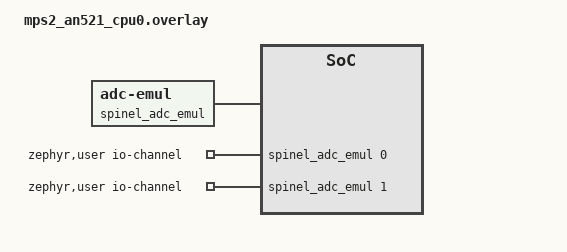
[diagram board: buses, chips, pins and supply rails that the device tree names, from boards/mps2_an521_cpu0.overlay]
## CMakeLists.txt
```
# Reserve harness for tests/app/reserves.sh (decision 0014, Task 9).
cmake_minimum_required(VERSION 3.20.0)
find_package(Zephyr REQUIRED HINTS $ENV{ZEPHYR_BASE})
project(spinel_reserve_harness)
target_sources(app PRIVATE src/main.c)
# reserves.h is generated beside the build by reserves.sh from reserves.tsv
if(DEFINED SPC_RESERVES_DIR)
  target_include_directories(app PRIVATE ${SPC_RESERVES_DIR})
endif()
```

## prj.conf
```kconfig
# the harness's own needs; the board's production or verification fragment
# is added with -DEXTRA_CONF_FILE
CONFIG_PRINTK=y
CONFIG_INIT_STACKS=y
CONFIG_THREAD_STACK_INFO=y
CONFIG_STACK_USAGE=y
```

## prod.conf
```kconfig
# the production configuration of a CORE application build (decision 0014
# §8, step 2): the 64-bit cycle counter §4 needs, the device classes
CONFIG_CORTEX_M_SYSTICK_64BIT_CYCLE_COUNTER=y
CONFIG_GPIO=y
CONFIG_ADC=y
CONFIG_PWM=y
```

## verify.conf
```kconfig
# the verification configuration: production plus the emulators the
# stimulus drives on QEMU (decision 0014 §10)
CONFIG_CORTEX_M_SYSTICK_64BIT_CYCLE_COUNTER=y
CONFIG_GPIO=y
CONFIG_GPIO_EMUL=y
CONFIG_ADC=y
CONFIG_ADC_EMUL=y
CONFIG_PWM=y
```

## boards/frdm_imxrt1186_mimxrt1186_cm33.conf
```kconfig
# decision 0028: the harness for the companion's board builds Zephyr's MU driver, as an
# image woken by a doorbell does, so that isr_mbox_nxp_imx_mu's path has its frames
CONFIG_MBOX=y
```

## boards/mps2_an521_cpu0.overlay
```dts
#include <zephyr/dt-bindings/adc/adc.h>
/* The harness's mps2/an521 overlay: the emulated ADC the acceptance
 * configuration uses (tests/app/fixtures/build/mps2_an521.overlay: the
 * adc-emul node itself is the same; the acceptance overlay additionally
 * names its io-channels under zephyr,user, which the harness does not need
 * because nothing here reads a channel), so the harness build carries
 * adc_emul.c's .su frames, from which
 * the Adc sampler thread's read path (drv_adc_read) is attested. */
/ {
	spinel_adc_emul: adc-emul {
		compatible = "zephyr,adc-emul";
		nchannels = <2>;
		ref-internal-mv = <3300>;
		#io-channel-cells = <1>;
		#address-cells = <1>;
		#size-cells = <0>;
		status = "okay";
		channel@0 {
			reg = <0>;
			zephyr,gain = "ADC_GAIN_1";
			zephyr,reference = "ADC_REF_INTERNAL";
			zephyr,acquisition-time = <ADC_ACQ_TIME_DEFAULT>;
			zephyr,resolution = <10>;
		};
		channel@1 {
			reg = <1>;
			zephyr,gain = "ADC_GAIN_1";
			zephyr,reference = "ADC_REF_INTERNAL";
			zephyr,acquisition-time = <ADC_ACQ_TIME_DEFAULT>;
			zephyr,resolution = <10>;
		};
	};
	zephyr,user {
		io-channels = <&spinel_adc_emul 0>, <&spinel_adc_emul 1>;
	};
};
```

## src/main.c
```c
/* Reserve harness (decision 0014 §9, Task 9): paints its stacks, drives every
 * reserved path, and compares the high-water marks with the reserves it was
 * built against. See ../README.md. Never linked into a deliverable. */
#include <stdint.h>
#include <string.h>
#include <zephyr/kernel.h>
#include <zephyr/device.h>
#include <zephyr/drivers/uart.h>
#include <zephyr/sys/printk.h>
#include "reserves.h" /* SPC_RESERVE_* from reserves.tsv, for this board */

#define WORKER_STACK 1024
static K_THREAD_STACK_DEFINE(worker_stack, WORKER_STACK);
static struct k_thread worker;
static struct k_timer probe_timer;
static volatile uint32_t expiries;
static volatile uint32_t spins;

/* the harness's own frames on the reserved paths, from its .su file, are
 * passed by reserves.sh as SPC_HARNESS_* so the comparison subtracts them */
#ifndef SPC_HARNESS_WORKER_FRAMES
#define SPC_HARNESS_WORKER_FRAMES 0
#endif
#ifndef SPC_HARNESS_EXPIRY_FRAMES
#define SPC_HARNESS_EXPIRY_FRAMES 0
#endif

static void expiry(struct k_timer *t)
{
	(void)t;
	expiries++;
}

/* the interrupt stack: painted again by the worker before it drives the
 * paths (with interrupts locked, no handler is active, so the whole buffer
 * is free), so the mark read afterwards is this run's, not the boot's */
extern K_KERNEL_STACK_ARRAY_DECLARE(z_interrupt_stacks, CONFIG_MP_MAX_NUM_CPUS, CONFIG_ISR_STACK_SIZE);
static void isr_stack_paint(void)
{
	uint8_t *base = (uint8_t *)K_KERNEL_STACK_BUFFER(z_interrupt_stacks[0]);
	size_t size = K_KERNEL_STACK_SIZEOF(z_interrupt_stacks[0]);
	unsigned int key = irq_lock();

	memset(base, 0xAA, size);
	irq_unlock(key);
}
static size_t isr_stack_used(void)
{
	const uint8_t *base = (const uint8_t *)K_KERNEL_STACK_BUFFER(z_interrupt_stacks[0]);
	size_t size = K_KERNEL_STACK_SIZEOF(z_interrupt_stacks[0]);
	size_t unused = 0;

	while (unused < size && base[unused] == 0xAAu) {
		unused++;
	}
	return size - unused;
}

static void worker_entry(void *a, void *b, void *c)
{
	const struct device *uart = DEVICE_DT_GET(DT_CHOSEN(zephyr_console));
	uint8_t byte;

	(void)a; (void)b; (void)c;
	isr_stack_paint();
	/* thread_switch + thread_kernel_calls: sleep, so PendSV switches away
	 * and back with the hardware frame on this stack */
	k_sleep(K_MSEC(2));
	/* timer_dispatch: a timer expires while this thread spins (busy work,
	 * so SysTick preempts a running thread), then with the thread waiting
	 * on it (z_ready_thread on the dispatch path) */
	k_timer_init(&probe_timer, expiry, NULL);
	k_timer_start(&probe_timer, K_MSEC(1), K_MSEC(1));
	for (uint32_t i = 0; i < 400000u && expiries < 5u; i++) {
		spins++;
	}
	k_timer_status_sync(&probe_timer);
	k_timer_stop(&probe_timer);
	/* uart_calls: the transport's polling calls */
	uart_poll_out(uart, '.');
	(void)uart_poll_in(uart, &byte);
	k_sleep(K_MSEC(1));
}

int main(void)
{
	size_t worker_unused = 0, worker_used, isr_used;
	int refuted = 0;
	/* the worker's requirement: the frames it has on the path plus the
	 * attested terms of the thread inequality (0014 §9, R) */
	const size_t worker_budget = SPC_HARNESS_WORKER_FRAMES + SPC_RESERVE_THREAD_SWITCH +
				     SPC_RESERVE_THREAD_KERNEL_CALLS + SPC_RESERVE_UART_CALLS +
				     SPC_RESERVE_GUARD_AREA;
	/* the interrupt stack: the deepest chain this run forces is SysTick's
	 * dispatch with the expiry function on top, entered over a thread
	 * (its hardware frame is on the thread's stack, not here). This is not
	 * the full interrupt inequality of 0014 section 9, which sums nested
	 * entries with their hardware frames on this stack: the run forces no
	 * nesting, and says so in the README. pendsv is the context switch's
	 * cost on this stack, 0 in this configuration. */
	const size_t isr_budget = SPC_RESERVE_ISR_ENTRY_EXIT + SPC_RESERVE_TIMER_DISPATCH +
				  SPC_RESERVE_PENDSV + SPC_HARNESS_EXPIRY_FRAMES;

	k_thread_create(&worker, worker_stack, WORKER_STACK, worker_entry, NULL, NULL, NULL,
			K_PRIO_PREEMPT(1), 0, K_NO_WAIT);
	k_thread_join(&worker, K_FOREVER);
	if (k_thread_stack_space_get(&worker, &worker_unused) != 0) {
		printk("RESERVES_ERROR stack_space_get failed\n");
		return 1;
	}
	worker_used = WORKER_STACK - worker_unused;
	isr_used = isr_stack_used();
	printk("RESERVES worker_used=%u worker_budget=%u isr_used=%u isr_budget=%u expiries=%u\n",
	       (unsigned)worker_used, (unsigned)worker_budget, (unsigned)isr_used, (unsigned)isr_budget,
	       (unsigned)expiries);
	if (worker_used > worker_budget) {
		printk("RESERVES_REFUTED worker: %u used, %u reserved\n", (unsigned)worker_used, (unsigned)worker_budget);
		refuted = 1;
	}
	if (isr_used > isr_budget) {
		printk("RESERVES_REFUTED isr: %u used, %u reserved\n", (unsigned)isr_used, (unsigned)isr_budget);
		refuted = 1;
	}
	printk("%s\n", refuted ? "RESERVES_REFUTED_END" : "RESERVES_HELD");
	return 0;
}
```
